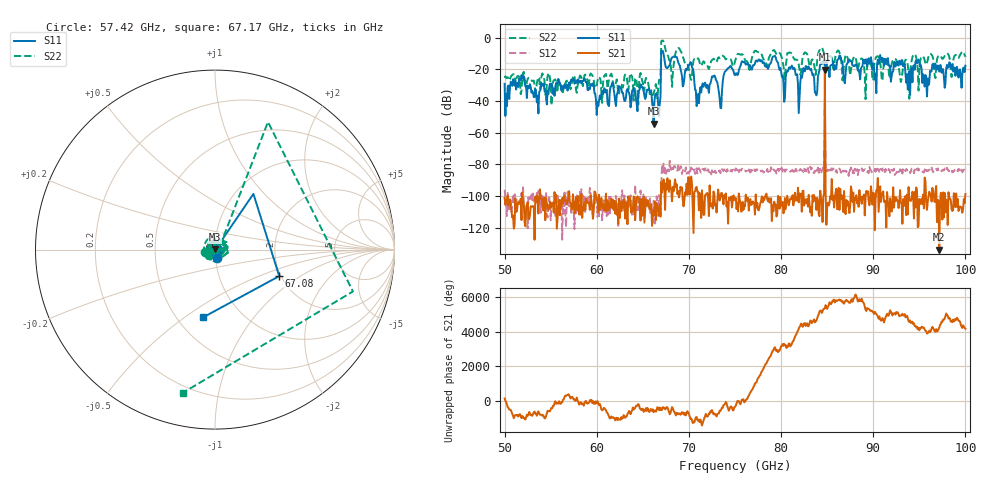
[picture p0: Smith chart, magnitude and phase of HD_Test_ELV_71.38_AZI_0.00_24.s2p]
! 11/25/2026 9:19:11 AM
! C:\ANRITSUVNA\TEMP\TEMP.S2P
! CHANNEL.1
! TR.MEASUREMENT
! RAW.DATA
# HZ S RI R 50.0
! FREQ.HZ  S11RE  S11IM  S21RE  S21IM  S12RE  S12IM  S22RE  S22IM
!; PortSelection: Port_12
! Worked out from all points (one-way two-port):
!   601 points, 50 GHz to 100 GHz, reference 50 ohm
!   highest |S21| = -20.26 dB at 84.75 GHz (marker M1); lowest = -134.0 dB at 97.17 GHz (marker M2)
!   lowest |S11| = -54.3 dB at 66.17 GHz (marker M3), VSWR 1.00, Z = 50.1 + j0.152 ohm
!   |S11| at or under -10 dB: start of sweep to 67 GHz; 67.24 GHz to end of sweep
!   |S22| runs from -42.6 to -1.8 dB; largest |S21 - S12| = 0.088
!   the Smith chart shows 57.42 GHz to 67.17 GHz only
!   S11 on the Smith chart (normalised r, x): 57.42 GHz: 1.02, -0.09; 67.08 GHz: 1.96, -0.68; 67.17 GHz: 0.67, -0.59
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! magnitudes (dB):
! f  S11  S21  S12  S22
! 50 GHz  -29.2  -101.3  -96.1  -25.4
! 57.42 GHz  -26.3  -99.0  -107.8  -25.2
! 58.42 GHz  -27.2  -113.9  -101.2  -29.0
! 60.17 GHz  -43.2  -110.3  -105.2  -24.8
! 61.67 GHz  -28.7  -107.7  -102.7  -24.5
! 66.17 GHz  -54.3  -112.5  -103.1  -35.4
! 66.67 GHz  -41.9  -107.3  -112.7  -32.1
! 67.08 GHz  -8.2  -98.0  -80.3  -1.9
! 67.17 GHz  -8.3  -93.6  -85.7  -1.8
! 70.17 GHz  -15.5  -90.6  -83.9  -25.7
! 70.92 GHz  -40.7  -97.4  -85.8  -13.3
! 75 GHz  -23.7  -102.2  -84.1  -15.0
! 79.25 GHz  -11.8  -103.7  -83.6  -7.9
! 80.25 GHz  -27.6  -111.0  -84.2  -17.7
! 83.42 GHz  -23.8  -99.5  -83.0  -13.8
! 84.75 GHz  -17.9  -20.3  -41.0  -11.6
! 91.67 GHz  -16.7  -104.8  -83.0  -20.5
! 93.75 GHz  -32.7  -111.7  -83.3  -17.3
! 94.83 GHz  -15.0  -119.8  -82.6  -20.3
! 95.83 GHz  -37.2  -108.8  -83.7  -15.9
! 97.17 GHz  -21.5  -134.0  -83.6  -11.3
! 100 GHz  -17.7  -98.9  -84.5  -12.2
